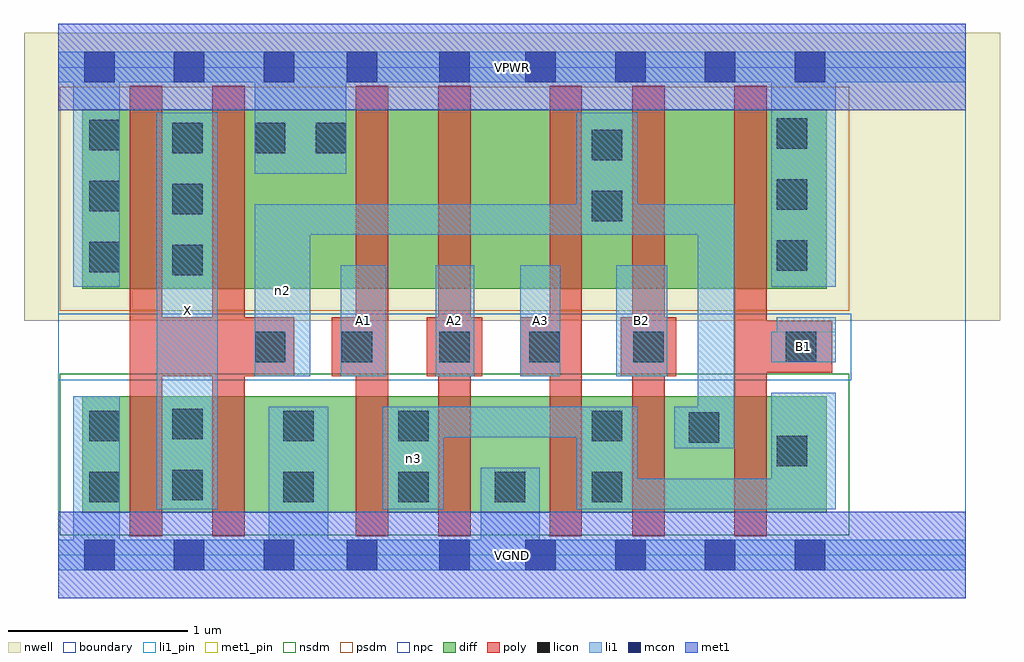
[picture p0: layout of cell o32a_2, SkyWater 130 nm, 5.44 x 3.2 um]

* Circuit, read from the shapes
.subckt o32a_2 A1 A2 A3 B1 B2 VGND VPWR X n2 n3
XM1 X n2 VGND VSUBS sky130_fd_pr__nfet_01v8 w=0.65 l=0.18 m=2
XM2 n3 A1 VGND VSUBS sky130_fd_pr__nfet_01v8 w=0.65 l=0.18
XM3 VGND A2 n3 VSUBS sky130_fd_pr__nfet_01v8 w=0.65 l=0.18
XM4 n3 A3 VGND VSUBS sky130_fd_pr__nfet_01v8 w=0.65 l=0.18
XM5 n2 B2 n3 VSUBS sky130_fd_pr__nfet_01v8 w=0.65 l=0.18
XM6 n3 B1 n2 VSUBS sky130_fd_pr__nfet_01v8 w=0.65 l=0.18
XM7 X n2 VPWR n1 sky130_fd_pr__pfet_01v8 w=1 l=0.18 m=2
XM8 n4 A1 VPWR n1 sky130_fd_pr__pfet_01v8 w=1 l=0.18
XM9 n5 A2 n4 n1 sky130_fd_pr__pfet_01v8 w=1 l=0.18
XM10 n2 A3 n5 n1 sky130_fd_pr__pfet_01v8 w=1 l=0.18
XM11 n6 B2 n2 n1 sky130_fd_pr__pfet_01v8 w=1 l=0.18
XM12 VPWR B1 n6 n1 sky130_fd_pr__pfet_01v8 w=1 l=0.18
.ends

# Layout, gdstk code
import gdstk
lib = gdstk.Library(unit=1e-6, precision=1e-09)
def R(c, l, rs):  # rectangles x0, y0, x1, y1
    for r in rs: c.add(gdstk.rectangle(r[:2], r[2:], *l))
def A(c, l, x, y, w, h, nx, ny, dx, dy):  # array of equal rectangles
    R(c, l, [(x+i*dx, y+j*dy, x+i*dx+w, y+j*dy+h) for i in range(nx) for j in range(ny)])
nwell = (64, 20)
diff = (65, 20)
poly = (66, 20)
licon = (66, 44)
li1_pin = (67, 16)
li1 = (67, 20)
mcon = (67, 44)
met1_pin = (68, 16)
met1 = (68, 20)
nsdm = (93, 44)
psdm = (94, 20)
npc = (95, 20)
boundary = (235, 4)

o32a_2 = lib.new_cell('o32a_2')
R(o32a_2, nwell, [(-0.19,1.305,5.25,2.91), (0,1.305,5.06,2.91)])
R(o32a_2, diff, [(0.135,0.235,4.285,0.885), (0.135,1.485,4.285,2.485)])
R(o32a_2, poly, [(0.4,0.105,0.58,2.615), (0.86,0.105,1.04,2.615), (1.66,0.105,1.84,2.615), (2.12,0.105,2.3,2.615), (2.74,0.105,2.92,2.615), (3.2,0.105,3.38,2.615), (3.77,0.105,3.95,2.615), (0.4,0.995,1.315,1.325), (1.525,0.995,1.84,1.325), (2.055,0.995,2.365,1.325), (2.575,0.995,2.92,1.325), (3.135,0.995,3.445,1.325), (3.77,1.015,4.315,1.305)])
A(o32a_2, licon, 1.895, 0.295, 0.17, 0.17, 3, 1, 0.54, 0)
A(o32a_2, licon, 0.635, 1.56, 0.17, 0.17, 1, 3, 0, 0.34)
A(o32a_2, licon, 0.175, 1.575, 0.17, 0.17, 1, 3, 0, 0.34)
A(o32a_2, licon, 4.005, 1.585, 0.17, 0.17, 1, 3, 0, 0.34)
R(o32a_2, licon, [(0.175,0.295,0.345,0.465), (1.255,0.295,1.425,0.465), (0.635,0.305,0.805,0.475), (4.005,0.495,4.175,0.665), (3.515,0.625,3.685,0.795), (0.175,0.635,0.345,0.805), (1.255,0.635,1.425,0.805), (1.895,0.635,2.065,0.805), (2.975,0.635,3.145,0.805), (0.635,0.645,0.805,0.815), (1.095,1.075,1.265,1.245), (1.58,1.075,1.75,1.245), (2.125,1.075,2.295,1.245), (2.625,1.075,2.795,1.245), (3.205,1.075,3.375,1.245), (4.055,1.075,4.225,1.245), (2.975,1.86,3.145,2.03), (2.975,2.2,3.145,2.37), (1.095,2.24,1.265,2.41), (1.435,2.24,1.605,2.41)])
R(o32a_2, li1_pin, [(0.55,0.255,0.89,2.465), (1.575,0.995,1.83,1.615), (2.105,0.995,2.32,1.615), (2.575,0.995,2.8,1.615), (3.11,0.995,3.395,1.615), (3.975,1.075,4.335,1.245)])
R(o32a_2, li1, [(0,-0.085,5.06,0.085), (0.085,-0.085,0.345,0.885), (1.175,-0.085,1.505,0.825), (2.355,-0.085,2.685,0.485), (0.55,0.255,0.89,2.465), (1.81,0.255,2.15,0.825), (2.89,0.255,3.23,0.825), (2.89,0.255,4.335,0.425), (3.975,0.255,4.335,0.905), (3.435,0.595,3.77,0.825), (3.565,0.595,3.77,1.955), (1.81,0.655,3.23,0.825), (1.095,0.995,1.405,1.955), (1.575,0.995,1.83,1.615), (2.105,0.995,2.32,1.615), (2.575,0.995,2.8,1.615), (3.11,0.995,3.395,1.615), (3.975,1.075,4.335,1.245), (4.005,1.075,4.335,1.325), (0.085,1.495,0.345,2.805), (3.975,1.495,4.335,2.805), (1.095,1.785,3.77,1.955), (2.89,1.785,3.23,2.465), (1.095,2.125,1.605,2.805), (0,2.635,5.06,2.805)])
A(o32a_2, mcon, 0.145, -0.085, 0.17, 0.17, 3, 2, 0.5, 2.72)
A(o32a_2, mcon, 2.605, -0.085, 0.17, 0.17, 4, 2, 0.5, 2.72)
R(o32a_2, mcon, [(1.61,-0.085,1.78,0.085), (2.125,-0.085,2.295,0.085), (1.61,2.635,1.78,2.805), (2.125,2.635,2.295,2.805)])
R(o32a_2, met1_pin, [(0,-0.24,5.06,0.24), (0,2.48,5.06,2.96)])
R(o32a_2, met1, [(0,-0.24,5.06,0.24), (0,2.48,5.06,2.96)])
R(o32a_2, nsdm, [(0.01,0.11,4.41,1.01)])
R(o32a_2, psdm, [(0.01,1.36,4.41,2.61)])
R(o32a_2, npc, [(0,0.975,4.42,1.345)])
R(o32a_2, boundary, [(0,0,5.06,2.72)])
o32a_2.add(gdstk.Label('A1', (1.702,1.305), layer=67, texttype=5))
o32a_2.add(gdstk.Label('A2', (2.212,1.305), layer=67, texttype=5))
o32a_2.add(gdstk.Label('A3', (2.687,1.305), layer=67, texttype=5))
o32a_2.add(gdstk.Label('B1', (4.155,1.16), layer=67, texttype=5))
o32a_2.add(gdstk.Label('B2', (3.252,1.305), layer=67, texttype=5))
o32a_2.add(gdstk.Label('X', (0.72,1.36), layer=67, texttype=5))
o32a_2.add(gdstk.Label('n3', (1.98,0.54), layer=67, texttype=5))
o32a_2.add(gdstk.Label('n2', (1.25,1.475), layer=67, texttype=5))
o32a_2.add(gdstk.Label('VPWR', (2.53,2.72), layer=68, texttype=5))
o32a_2.add(gdstk.Label('VGND', (2.53,0), layer=68, texttype=5))
o32a_2.add(gdstk.Label('A1', (1.702,1.305), layer=67, texttype=16))
o32a_2.add(gdstk.Label('A2', (2.212,1.305), layer=67, texttype=16))
o32a_2.add(gdstk.Label('A3', (2.687,1.305), layer=67, texttype=16))
o32a_2.add(gdstk.Label('B1', (4.155,1.16), layer=67, texttype=16))
o32a_2.add(gdstk.Label('B2', (3.252,1.305), layer=67, texttype=16))
o32a_2.add(gdstk.Label('X', (0.72,1.36), layer=67, texttype=16))
o32a_2.add(gdstk.Label('VPWR', (2.53,2.72), layer=68, texttype=16))
o32a_2.add(gdstk.Label('VGND', (2.53,0), layer=68, texttype=16))

lib.write_gds('o32a_2.gds')
